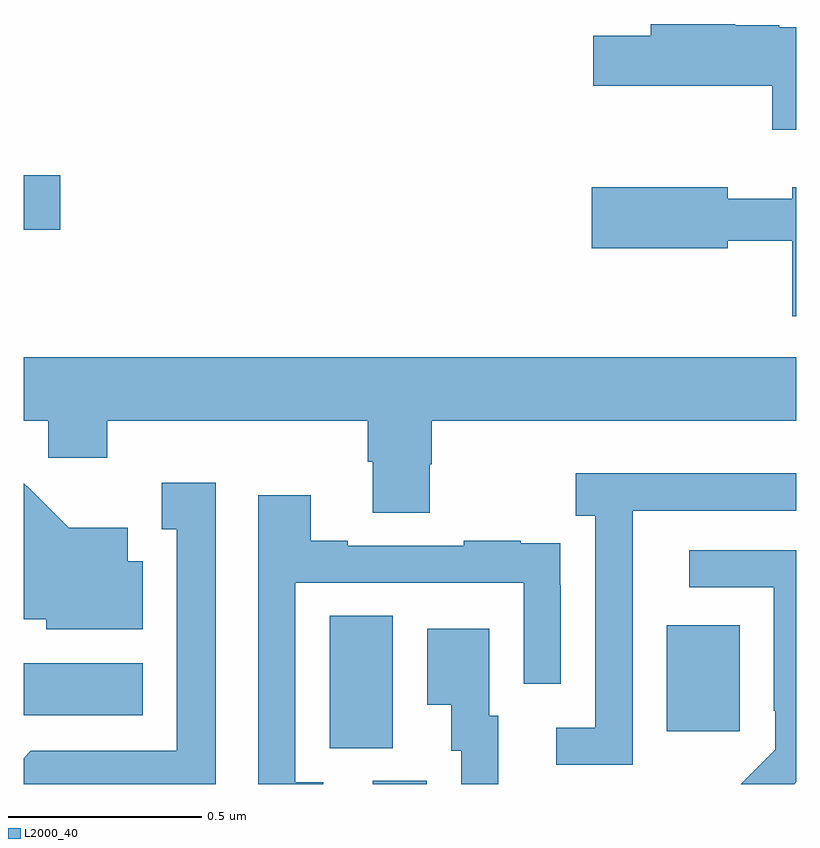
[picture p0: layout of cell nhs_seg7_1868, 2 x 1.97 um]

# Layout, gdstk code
import gdstk
lib = gdstk.Library(unit=1e-6, precision=1e-09)
def R(c, l, rs):  # rectangles x0, y0, x1, y1
    for r in rs: c.add(gdstk.rectangle(r[:2], r[2:], *l))
def P(c, l, *ps):  # polygons
    for p in ps: c.add(gdstk.Polygon(p, *l))
L2000_40 = (2000, 40)

nhs_seg7_1868 = lib.new_cell('nhs_seg7_1868')
R(nhs_seg7_1868, L2000_40, [(137.903,1009,138.043,1009.008), (137.792,1009.093,137.956,1009.436), (138.665,1009.137,138.853,1009.411), (137,1009.178,137.308,1009.312), (137,1010.434,137.095,1010.576)])
P(nhs_seg7_1868, L2000_40, [(139,1010.959),(138.956,1010.959),(138.956,1010.964),(138.842,1010.964),(138.842,1010.967),(138.623,1010.967),(138.623,1010.937),(138.474,1010.937),(138.474,1010.807),(138.938,1010.807),(138.938,1010.693),(139,1010.693)],
  [(139,1010.545),(138.989,1010.545),(138.989,1010.515),(138.823,1010.515),(138.823,1010.545),(138.471,1010.545),(138.471,1010.387),(138.823,1010.387),(138.823,1010.406),(138.989,1010.406),(138.989,1010.211),(139,1010.211)],
  [(138.051,1009.827),(138.056,1009.827),(138.056,1009.94),(139,1009.94),(139,1010.104),(137,1010.104),(137,1009.94),(137.064,1009.94),(137.064,1009.845),(137.216,1009.845),(137.216,1009.94),(137.891,1009.94),(137.891,1009.834),(137.903,1009.834),(137.903,1009.702),(138.051,1009.702)],
  [(138.576,1009.507),(138.577,1009.507),(138.577,1009.707),(139,1009.707),(139,1009.804),(138.429,1009.804),(138.429,1009.694),(138.48,1009.694),(138.48,1009.146),(138.378,1009.146),(138.378,1009.05),(138.576,1009.05)],
  [(137.497,1009.78),(137.357,1009.78),(137.357,1009.659),(137.396,1009.659),(137.396,1009.086),(137.019,1009.086),(137,1009.067),(137,1009),(137.497,1009)],
  [(137.308,1009.576),(137.269,1009.576),(137.269,1009.663),(137.117,1009.663),(137.014,1009.765),(137,1009.779),(137,1009.427),(137.058,1009.427),(137.058,1009.4),(137.308,1009.4)],
  [(137.776,1009.005),(137.703,1009.005),(137.703,1009.521),(138.294,1009.521),(138.294,1009.26),(138.39,1009.26),(138.39,1009.514),(138.389,1009.514),(138.389,1009.623),(138.287,1009.623),(138.287,1009.63),(138.139,1009.63),(138.139,1009.617),(137.839,1009.617),(137.839,1009.63),(137.743,1009.63),(137.743,1009.747),(137.607,1009.747),(137.607,1009),(137.776,1009)],
  [(139,1009.006),(139,1009.605),(138.723,1009.605),(138.723,1009.509),(138.942,1009.509),(138.942,1009.189),(138.945,1009.189),(138.945,1009.089),(138.856,1009),(138.994,1009)],
  [(138.229,1009.176),(138.205,1009.176),(138.205,1009.402),(138.044,1009.402),(138.044,1009.205),(138.107,1009.205),(138.107,1009.086),(138.132,1009.086),(138.132,1009),(138.229,1009)])

lib.write_gds('nhs_seg7_1868.gds')
